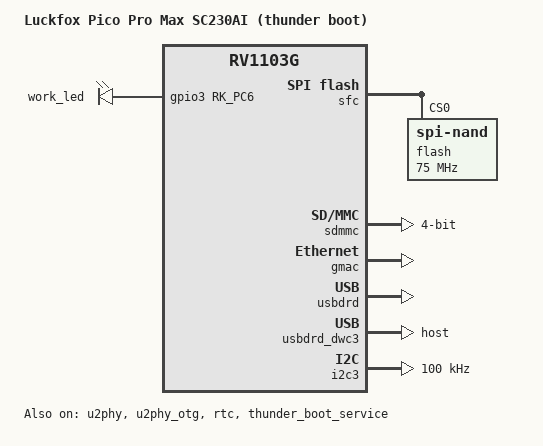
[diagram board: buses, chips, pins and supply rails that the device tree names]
// SPDX-License-Identifier: (GPL-2.0+ OR MIT)
/*
 * OKO: Luckfox Pico Pro Max with SC230AI, thunder-boot ("fastboot") variant.
 *
 * Derived from the product board description
 * (rv1106g-luckfox-pico-pro-max-sc230ai.dts) plus the vendor thunder-boot
 * additions from rv1106g-luckfox-pico-pro-max-fastboot.dts.  The vendor
 * fastboot DTS is based on rv1106g-evb2-v10.dts, whose camera sits on i2c4
 * address 0x30 (SC3338); this board has the SC230AI on the same i2c4 m2 bus
 * at address 0x32, so the sensor description comes from the product DTS.
 *
 * DDR map (must match the MCU firmware, see
 * bsp/rockchip/rv1106-mcu/board/battery_ipc_demo_v10-SC230AI-ADC/defconfig):
 *   0x00040000  rtthread.bin (Hpmcu, loaded by SPL from idblock)
 *   0x0007c000  mcu log / pstore
 *   0x00800000  meta (IQ bin, sensor init, app params)
 *   0x00860000  ISP thunder-boot raw buffer
 */

/dts-v1/;

#include "rv1106.dtsi"
#include "rv1106-evb.dtsi"
#include "rv1106-luckfox-pico-pro-max-ipc.dtsi"
#include "rv1106-thunder-boot-spi-nor.dtsi"

/ {
	model = "Luckfox Pico Pro Max SC230AI (thunder boot)";
	compatible = "rockchip,rv1103g-38x38-ipc-v10", "rockchip,rv1106g3";

	chosen {
		bootargs = "loglevel=0 rootfstype=erofs rootflags=dax console=ttyFIQ0 root=/dev/rd0 snd_soc_core.prealloc_buffer_size_kbytes=16 coherent_pool=0 driver_async_probe=dwmmc_rockchip";
	};

	leds: leds {
		compatible = "gpio-leds";
		work_led: work {
			gpios = <&gpio3 RK_PC6 GPIO_ACTIVE_HIGH>;
			linux,default-trigger = "activity";
			default-state = "on";
		};
	};
};

/**********FLASH**********/
&sfc {
	status = "okay";

	flash@0 {
		compatible = "spi-nand";
		reg = <0>;
		spi-max-frequency = <75000000>;
		spi-rx-bus-width = <4>;
		spi-tx-bus-width = <1>;
	};
};

/**********SDMMC**********/
&sdmmc {
	max-freqency = <50000000>;
	no-mmc;
	bus-width = <4>;
	cap-mmc-highspeed;
	cap-sd-highspeed;
	disable-wp;
	no-1-8-v;

	pinctrl-names = "default";
	pinctrl-0 = <&sdmmc0_clk &sdmmc0_cmd &sdmmc0_det &sdmmc0_bus4>;
	status = "okay";
};

/**********ETH**********/
&gmac {
	status = "okay";
};

/**********USB**********/
&u2phy {
	status = "okay";
};

&u2phy_otg {
	rockchip,dis-u2-susphy;
	status = "okay";
};

&usbdrd {
	status = "okay";
};

&usbdrd_dwc3 {
	status = "okay";
	/* Same as the product image: the bench hub needs host mode.  The
	 * thunder-boot rootfs does not start any gadget. */
	dr_mode = "host";
};

/**********SPI**********/
&spi0 {
	status = "disabled";

	spidev@0 {
		spi-max-frequency = <50000000>;
	};

	fbtft@0 {
		spi-max-frequency = <50000000>;
	};
};

/**********I2C**********/
/* I2C3_M1: bench EC/SHT21/INA3221 bus (not the camera). */
&i2c3 {
	status = "okay";
	clock-frequency = <100000>;
	pinctrl-0 = <&i2c3m1_xfer>;
};

/* I2C4_M2: camera bus.  "rockchip,amp-shared" lets the Linux i2c driver
 * take the bus back from the MCU after the thunder-boot handshake. */
&i2c4 {
	rockchip,amp-shared;
};

&i2c1 {
	status = "disabled";
	clock-frequency = <100000>;
};

/**********UART**********/
/* UART3_M1 */
&uart3 {
	status = "disabled";
};

/* UART4_M1 */
&uart4 {
	status = "disabled";
};

&fiq_debugger {
	rockchip,baudrate = <115200>;
	pinctrl-names = "default";
	pinctrl-0 = <&uart2m1_xfer>;
};

/**********RTC**********/
&rtc {
	status = "okay";
};

/**********CAMERA SENSORS**********/
/* Only the SC230AI is populated on this board variant. */
&sc3336 {
	status = "disabled";
};

&mis5001 {
	status = "disabled";
};

/**********THUNDER BOOT**********/
&emmc {
	status = "disabled";
};

/* CIF writes the raw frames into the reserved MCU buffer during handoff.
 * The region below is sized for the Linux-side 1920x1080 raw10 capture:
 * ceil(1920 * 10 / 8 / 256) * 256 * 1080 * 4 = 0xa8c000, rounded up to
 * 0xf30000 like the vendor fastboot DTS.  The MCU itself only needs
 * 0x600000 for its 640x480 fast-AE stage (CONFIG_RT_USING_ISP_DDR_SIZE). */
&rkcif_mipi_lvds {
	memory-region-thunderboot = <&rkisp_thunderboot>;
};

&rkisp_thunderboot {
	/* reg's offset MUST match with RTOS */
	reg = <0x00860000 0xf30000>;
};

&ramdisk_r {
	reg = <0x1790000 (20 * 0x00100000)>;
};

&ramdisk_c {
	reg = <0x2b90000 (16 * 0x00100000)>;
};

&thunder_boot_service {
	status = "okay";
};

/* The vendor dtsi lists the I2C4 clocks here; the SC230AI lives on the same
 * bus, so no override is needed. */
